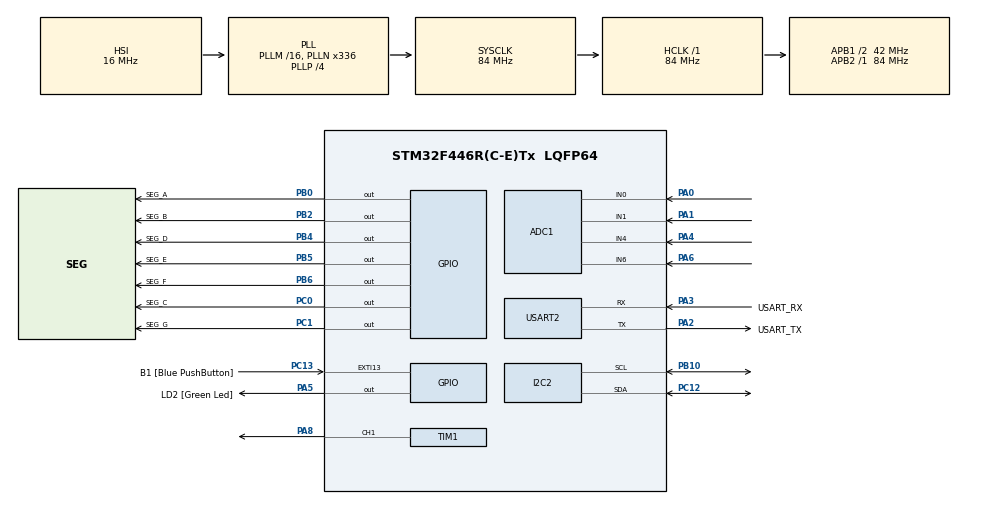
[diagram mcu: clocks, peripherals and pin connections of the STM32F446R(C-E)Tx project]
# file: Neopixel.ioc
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ADC1.Channel-0\#ChannelRegularConversion=ADC_CHANNEL_0
ADC1.Channel-1\#ChannelRegularConversion=ADC_CHANNEL_1
ADC1.Channel-2\#ChannelRegularConversion=ADC_CHANNEL_4
ADC1.Channel-3\#ChannelRegularConversion=ADC_CHANNEL_6
ADC1.ContinuousConvMode=DISABLE
ADC1.InjNumberOfConversion=0
ADC1.NbrOfConversion=4
ADC1.NbrOfConversionFlag=1
ADC1.Rank-0\#ChannelRegularConversion=1
ADC1.Rank-1\#ChannelRegularConversion=2
ADC1.Rank-2\#ChannelRegularConversion=3
ADC1.Rank-3\#ChannelRegularConversion=4
ADC1.SamplingTime-0\#ChannelRegularConversion=ADC_SAMPLETIME_480CYCLES
ADC1.SamplingTime-1\#ChannelRegularConversion=ADC_SAMPLETIME_480CYCLES
ADC1.SamplingTime-2\#ChannelRegularConversion=ADC_SAMPLETIME_480CYCLES
ADC1.SamplingTime-3\#ChannelRegularConversion=ADC_SAMPLETIME_480CYCLES
ADC1.ScanConvMode=ENABLE
ADC1.master=1
Dma.Request0=TIM1_CH1
Dma.TIM1_CH1.0.Direction=DMA_MEMORY_TO_PERIPH
Dma.TIM1_CH1.0.FIFOMode=DMA_FIFOMODE_DISABLE
Dma.TIM1_CH1.0.Instance=DMA2_Stream1
Dma.TIM1_CH1.0.MemDataAlignment=DMA_MDATAALIGN_HALFWORD
Dma.TIM1_CH1.0.MemInc=DMA_MINC_ENABLE
Dma.TIM1_CH1.0.Mode=DMA_NORMAL
Dma.TIM1_CH1.0.PeriphDataAlignment=DMA_PDATAALIGN_HALFWORD
Dma.TIM1_CH1.0.PeriphInc=DMA_PINC_DISABLE
Dma.TIM1_CH1.0.Priority=DMA_PRIORITY_HIGH
I2C2.OwnAddress=0
Mcu.Family=STM32F4
Mcu.Name=STM32F446R(C-E)Tx
Mcu.Package=LQFP64
NVIC.DMA2_Stream1_IRQn=true\:0\:0\:false\:false\:true\:false\:true\:true
NVIC.I2C2_ER_IRQn=true\:0\:0\:false\:false\:true\:true\:true\:true
NVIC.I2C2_EV_IRQn=true\:0\:0\:false\:false\:true\:true\:true\:true
NVIC.PriorityGroup=NVIC_PRIORITYGROUP_0
NVIC.TIM1_CC_IRQn=true\:0\:0\:false\:false\:true\:true\:true\:true
PA0-WKUP.Signal=ADCx_IN0
PA1.Signal=ADCx_IN1
PA13.GPIO_Label=TMS
PA13.Mode=Serial_Wire
PA13.Signal=SYS_JTMS-SWDIO
PA14.GPIO_Label=TCK
PA14.Mode=Serial_Wire
PA14.Signal=SYS_JTCK-SWCLK
PA2.GPIO_Label=USART_TX
PA2.Mode=Asynchronous
PA2.Signal=USART2_TX
PA3.GPIO_Label=USART_RX
PA3.Mode=Asynchronous
PA3.Signal=USART2_RX
PA4.Signal=ADCx_IN4
PA5.GPIO_Label=LD2 [Green Led]
PA5.Signal=GPIO_Output
PA6.Signal=ADCx_IN6
PA8.Signal=S_TIM1_CH1
PB0.GPIO_Label=SEG_A
PB0.Signal=GPIO_Output
PB10.GPIO_Pu=GPIO_NOPULL
PB10.Mode=I2C
PB10.Signal=I2C2_SCL
PB2.GPIO_Label=SEG_B
PB2.Signal=GPIO_Output
PB3.GPIO_Label=SWO
PB3.Signal=SYS_JTDO-SWO
PB4.GPIO_Label=SEG_D
PB4.Signal=GPIO_Output
PB5.GPIO_Label=SEG_E
PB5.Signal=GPIO_Output
PB6.GPIO_Label=SEG_F
PB6.Signal=GPIO_Output
PC0.GPIO_Label=SEG_C
PC0.Signal=GPIO_Output
PC1.GPIO_Label=SEG_G
PC1.Signal=GPIO_Output
PC12.GPIO_Pu=GPIO_NOPULL
PC12.Mode=I2C
PC12.Signal=I2C2_SDA
PC13.GPIO_Label=B1 [Blue PushButton]
PC13.GPIO_ModeDefaultEXTI=GPIO_MODE_IT_FALLING
PC13.Signal=GPXTI13
PC14-OSC32_IN.Mode=LSE-External-Oscillator
PC14-OSC32_IN.Signal=RCC_OSC32_IN
PC15-OSC32_OUT.Mode=LSE-External-Oscillator
PC15-OSC32_OUT.Signal=RCC_OSC32_OUT
PH0-OSC_IN.Mode=HSE-External-Oscillator
PH0-OSC_IN.Signal=RCC_OSC_IN
PH1-OSC_OUT.Mode=HSE-External-Oscillator
PH1-OSC_OUT.Signal=RCC_OSC_OUT
ProjectManager.HeapSize=0x200
ProjectManager.StackSize=0x400
ProjectManager.TargetToolchain=STM32CubeIDE
RCC.48MHZClocksFreq_Value=84000000
RCC.AHBFreq_Value=84000000
RCC.APB1CLKDivider=RCC_HCLK_DIV2
RCC.APB1Freq_Value=42000000
RCC.APB1TimFreq_Value=84000000
RCC.APB2Freq_Value=84000000
RCC.APB2TimFreq_Value=84000000
RCC.CortexFreq_Value=84000000
RCC.FLatency-AdvancedSettings=FLASH_LATENCY_2
RCC.HCLKFreq_Value=84000000
RCC.HSE_VALUE=8000000
RCC.HSI_VALUE=16000000
RCC.PLLN=336
RCC.PLLP=RCC_PLLP_DIV4
RCC.SYSCLKFreq_VALUE=84000000
RCC.SYSCLKSource=RCC_SYSCLKSOURCE_PLLCLK
RCC.USBFreq_Value=168000000
RCC.VCOOutputFreq_Value=336000000
SH.ADCx_IN0.0=ADC1_IN0,IN0
SH.ADCx_IN1.0=ADC1_IN1,IN1
SH.ADCx_IN4.0=ADC1_IN4,IN4
SH.ADCx_IN6.0=ADC1_IN6,IN6
SH.S_TIM1_CH1.0=TIM1_CH1,PWM Generation1 CH1
TIM1.Channel-PWM\ Generation1\ CH1=TIM_CHANNEL_1
TIM1.Period=105-1
USART2.VirtualMode=VM_ASYNC
VP_TIM1_VS_ClockSourceINT.Mode=Internal
board=NUCLEO-F446RE

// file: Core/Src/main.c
/* USER CODE BEGIN Header */
/**
  ******************************************************************************
  * @file           : main.c
  * @brief          : Main program body
  ******************************************************************************
  * @attention
  *
  * Copyright (c) 2025 STMicroelectronics.
  * All rights reserved.
  *
  * This software is licensed under terms that can be found in the LICENSE file
  * in the root directory of this software component.
  * If no LICENSE file comes with this software, it is provided AS-IS.
  *
  ******************************************************************************
  */
/* USER CODE END Header */
#include "main.h"

/* USER CODE BEGIN Includes */
#include <stdio.h>
#include <stdbool.h>
#include <string.h>
#include "Neopixel.h"
/* USER CODE END Includes */

/* USER CODE BEGIN PD */
#define UMBRAL_LDR 2000
#define STM32_SLAVE_ADDRESS 0x04  // Segunda Nucleo esclava (espacios 5-8)
#define ESP32_SLAVE_ADDRESS 0x28  // ESP32 para interfaz web
#define CMD_DISPLAY_UPDATE 0xA1
/* USER CODE END PD */

ADC_HandleTypeDef hadc1;

I2C_HandleTypeDef hi2c2;

TIM_HandleTypeDef htim1;
DMA_HandleTypeDef hdma_tim1_ch1;

UART_HandleTypeDef huart2;

/* USER CODE BEGIN PV */
float brilloled = 50.0f;

// LDRs y estado LOCAL (esta Nucleo - espacios 1-4)
uint32_t ldrValues[4];
uint8_t espaciosLibresLocal = 0;

// Datos recibidos de la Nucleo ESCLAVA (espacios 5-8)
uint8_t slave_data[9];  // 1 byte libres + 4 uint16_t LDR
uint16_t ldr_values_slave[4];
uint8_t espaciosLibresRemoto = 0;

// Estado TOTAL del parqueo (8 espacios)
uint8_t espaciosLibresTotal = 0;
uint8_t estadoParqueos[8] = {0};  // 0=ocupado, 1=libre

// Buffer para enviar al ESP32
uint8_t esp32_data[9];  // 1 byte total + 8 bytes estado

char buffer[200];
unsigned long lastI2CRead = 0;

// Tabla display 7 segmentos
uint8_t digitosDisplay[10] = {
    0b00111111,  // 0
    0b00000110,  // 1
    0b01011011,  // 2
    0b01001111,  // 3
    0b01100110,  // 4
    0b01101101,  // 5
    0b01111101,  // 6
    0b00000111,  // 7
    0b01111111,  // 8
    0b01101111   // 9
};

bool slave_error = false;
bool esp32_error = false;
/* USER CODE END PV */

void SystemClock_Config(void);
static void MX_GPIO_Init(void);
static void MX_DMA_Init(void);
static void MX_USART2_UART_Init(void);
static void MX_TIM1_Init(void);
static void MX_ADC1_Init(void);
static void MX_I2C2_Init(void);
/* USER CODE BEGIN PFP */

void LeerLDRsLocal(void);
void ActualizarNeoPixelsLocal(void);
void MostrarDigito(uint8_t numero);
void LeerDatosEsclavo(void);
void ConsolidarDatos(void);
void EnviarDatosESP32(void);
int _write(int file, char *ptr, int len);

/* USER CODE END PFP */

/* USER CODE BEGIN 0 */
// Función para redirigir printf al UART
int _write(int file, char *ptr, int len) {
    HAL_UART_Transmit(&huart2, (uint8_t*)ptr, len, HAL_MAX_DELAY);
    return len;
}

// Función auxiliar para leer LDRs locales
void LeerLDRsLocal(void) {
    HAL_ADC_Start(&hadc1);

    for (int i = 0; i < 4; i++) {
        HAL_ADC_PollForConversion(&hadc1, HAL_MAX_DELAY);
        ldrValues[i] = HAL_ADC_GetValue(&hadc1);
    }

    HAL_ADC_Stop(&hadc1);

    // Calcular espacios libres locales
    espaciosLibresLocal = 0;
    for (int i = 0; i < 4; i++) {
        if (ldrValues[i] > UMBRAL_LDR) {
            espaciosLibresLocal++;
            estadoParqueos[i] = 1;  // Libre
        } else {
            estadoParqueos[i] = 0;  // Ocupado
        }
    }
}

// Función para actualizar NeoPixels locales
void ActualizarNeoPixelsLocal(void) {
    for (int i = 0; i < 4; i++) {
        if (ldrValues[i] > UMBRAL_LDR) {
            setPixelColor(i, 0, 255, 0);  // Verde = libre
        } else {
            setPixelColor(i, 255, 0, 0);  // Rojo = ocupado
        }
    }
    pixelShow();
}

// Función para mostrar número en display 7 segmentos
void MostrarDigito(uint8_t numero) {
    if (numero > 9) numero = 9;

    uint8_t segmentos = digitosDisplay[numero];

    HAL_GPIO_WritePin(GPIOB, GPIO_PIN_0, (segmentos & 0b00000001) ? GPIO_PIN_SET : GPIO_PIN_RESET); // a
    HAL_GPIO_WritePin(GPIOB, GPIO_PIN_2, (segmentos & 0b00000010) ? GPIO_PIN_SET : GPIO_PIN_RESET); // b
    HAL_GPIO_WritePin(GPIOC, GPIO_PIN_0, (segmentos & 0b00000100) ? GPIO_PIN_SET : GPIO_PIN_RESET); // c
    HAL_GPIO_WritePin(GPIOB, GPIO_PIN_4, (segmentos & 0b00001000) ? GPIO_PIN_SET : GPIO_PIN_RESET); // d
    HAL_GPIO_WritePin(GPIOB, GPIO_PIN_5, (segmentos & 0b00010000) ? GPIO_PIN_SET : GPIO_PIN_RESET); // e
    HAL_GPIO_WritePin(GPIOB, GPIO_PIN_6, (segmentos & 0b00100000) ? GPIO_PIN_SET : GPIO_PIN_RESET); // f
    HAL_GPIO_WritePin(GPIOC, GPIO_PIN_1, (segmentos & 0b01000000) ? GPIO_PIN_SET : GPIO_PIN_RESET); // g
}
/* USER CODE END 0 */

int main(void)
{

  /* MCU Configuration--------------------------------------------------------*/

  /* Reset of all peripherals, Initializes the Flash interface and the Systick. */
  HAL_Init();

  /* Configure the system clock */
  SystemClock_Config();

  /* Initialize all configured peripherals */
  MX_GPIO_Init();
  MX_DMA_Init();
  MX_USART2_UART_Init();
  MX_TIM1_Init();
  MX_ADC1_Init();
  MX_I2C2_Init();
  /* USER CODE BEGIN 2 */
  printf("\r\n[I2C SCAN] Escaneando bus I2C...\r\n");
  for (uint8_t addr = 1; addr < 128; addr++) {
      if (HAL_I2C_IsDeviceReady(&hi2c2, (addr << 1), 1, 10) == HAL_OK) {
          printf("  ✓ Dispositivo encontrado en: 0x%02X\r\n", addr);
      }
  }
  printf("[I2C SCAN] Escaneo completo\r\n\r\n");

  // ⭐ VERIFICAR que el esclavo responde antes de continuar
  printf("\r\n[VERIFICACIÓN] Probando comunicación con esclavo 0x%02X...\r\n", STM32_SLAVE_ADDRESS);
  HAL_Delay(100);

  if (HAL_I2C_IsDeviceReady(&hi2c2, (STM32_SLAVE_ADDRESS << 1), 3, 100) == HAL_OK) {
      printf("  ✓ Nucleo esclava (0x%02X) responde correctamente\r\n\r\n", STM32_SLAVE_ADDRESS);
  } else {
      printf("  ✗ ADVERTENCIA: Nucleo esclava (0x%02X) NO responde\r\n", STM32_SLAVE_ADDRESS);
      printf("    Verifica:\r\n");
      printf("    - Esclavo programado y funcionando\r\n");
      printf("    - HAL_I2C_EnableListen_IT() llamado en el esclavo\r\n");
      printf("    - Conexiones I2C y GND\r\n");
      printf("    - Resistencias pull-up\r\n\r\n");
  }

  printf("\r\n========================================\r\n");
  printf("   Nucleo MAESTRO - Parqueo JJ\r\n");
  printf("   Control de espacios 1-4\r\n");
  printf("========================================\r\n\r\n");

  MostrarDigito(0);
  printf("Display 7 segmentos OK\r\n");

  setBrightness(50);
  pixelClear();
  pixelShow();
  printf("NeoPixels OK\r\n");

  printf("Umbral LDR: %d\r\n\r\n", UMBRAL_LDR);

  printf("I2C Maestro inicializado\r\n");
  printf("  Nucleo Esclava: 0x%02X (Espacios 5-8)\r\n", STM32_SLAVE_ADDRESS);
  printf("  ESP32 Display:  0x%02X\r\n\r\n", ESP32_SLAVE_ADDRESS);

  printf("Iniciando monitoreo de 8 espacios...\r\n");
  printf("========================================\r\n\r\n");

  memset(slave_data, 0, sizeof(slave_data));
  memset(esp32_data, 0, sizeof(esp32_data));

  /* USER CODE END 2 */

  /* Infinite loop */
  /* USER CODE BEGIN WHILE */
  while (1)
  {
	  // 1. Leer sensores LOCALES (espacios 1-4)
	      LeerLDRsLocal();

	      // 2. Actualizar NeoPixels LOCALES
	      ActualizarNeoPixelsLocal();

	      // 3. Leer datos de la Nucleo ESCLAVA cada 300ms
	      if (HAL_GetTick() - lastI2CRead >= 300) {
	          LeerDatosEsclavo();
	          HAL_Delay(10);

	          ConsolidarDatos();
	          HAL_Delay(10);

	          EnviarDatosESP32();
	          HAL_Delay(10);

	          EnviarDatosNucleoEsclava();

	          // Debug completo
	          printf("[MAESTRO] Total: %d/8 | Local(1-4): %d/4 | Remoto(5-8): %d/4\r\n",
	                 espaciosLibresTotal, espaciosLibresLocal, espaciosLibresRemoto);

	          printf("  LDR Local:  [%4lu, %4lu, %4lu, %4lu]\r\n",
	                 ldrValues[0], ldrValues[1], ldrValues[2], ldrValues[3]);

	          printf("  LDR Remoto: [%4u, %4u, %4u, %4u]\r\n",
	                 ldr_values_slave[0], ldr_values_slave[1],
	                 ldr_values_slave[2], ldr_values_slave[3]);

	          printf("  Estado: [%d,%d,%d,%d,%d,%d,%d,%d]\r\n\r\n",
	                 estadoParqueos[0], estadoParqueos[1], estadoParqueos[2], estadoParqueos[3],
	                 estadoParqueos[4], estadoParqueos[5], estadoParqueos[6], estadoParqueos[7]);

	          lastI2CRead = HAL_GetTick();
	      }

	      HAL_Delay(200);
    /* USER CODE END WHILE */

  }
}

void SystemClock_Config(void)
{
  RCC_OscInitTypeDef RCC_OscInitStruct = {0};
  RCC_ClkInitTypeDef RCC_ClkInitStruct = {0};

  /** Configure the main internal regulator output voltage
  */
  __HAL_RCC_PWR_CLK_ENABLE();
  __HAL_PWR_VOLTAGESCALING_CONFIG(PWR_REGULATOR_VOLTAGE_SCALE3);

  /** Initializes the RCC Oscillators according to the specified parameters
  * in the RCC_OscInitTypeDef structure.
  */
  RCC_OscInitStruct.OscillatorType = RCC_OSCILLATORTYPE_HSI;
  RCC_OscInitStruct.HSIState = RCC_HSI_ON;
  RCC_OscInitStruct.HSICalibrationValue = RCC_HSICALIBRATION_DEFAULT;
  RCC_OscInitStruct.PLL.PLLState = RCC_PLL_ON;
  RCC_OscInitStruct.PLL.PLLSource = RCC_PLLSOURCE_HSI;
  RCC_OscInitStruct.PLL.PLLM = 16;
  RCC_OscInitStruct.PLL.PLLN = 336;
  RCC_OscInitStruct.PLL.PLLP = RCC_PLLP_DIV4;
  RCC_OscInitStruct.PLL.PLLQ = 2;
  RCC_OscInitStruct.PLL.PLLR = 2;
  if (HAL_RCC_OscConfig(&RCC_OscInitStruct) != HAL_OK)
  {
    Error_Handler();
  }

  /** Initializes the CPU, AHB and APB buses clocks
  */
  RCC_ClkInitStruct.ClockType = RCC_CLOCKTYPE_HCLK|RCC_CLOCKTYPE_SYSCLK
                              |RCC_CLOCKTYPE_PCLK1|RCC_CLOCKTYPE_PCLK2;
  RCC_ClkInitStruct.SYSCLKSource = RCC_SYSCLKSOURCE_PLLCLK;
  RCC_ClkInitStruct.AHBCLKDivider = RCC_SYSCLK_DIV1;
  RCC_ClkInitStruct.APB1CLKDivider = RCC_HCLK_DIV2;
  RCC_ClkInitStruct.APB2CLKDivider = RCC_HCLK_DIV1;

  if (HAL_RCC_ClockConfig(&RCC_ClkInitStruct, FLASH_LATENCY_2) != HAL_OK)
  {
    Error_Handler();
  }
}

static void MX_ADC1_Init(void)
{

  ADC_ChannelConfTypeDef sConfig = {0};

  /** Configure the global features of the ADC (Clock, Resolution, Data Alignment and number of conversion)
  */
  hadc1.Instance = ADC1;
  hadc1.Init.ClockPrescaler = ADC_CLOCK_SYNC_PCLK_DIV4;
  hadc1.Init.Resolution = ADC_RESOLUTION_12B;
  hadc1.Init.ScanConvMode = ENABLE;
  hadc1.Init.ContinuousConvMode = DISABLE;
  hadc1.Init.DiscontinuousConvMode = DISABLE;
  hadc1.Init.ExternalTrigConvEdge = ADC_EXTERNALTRIGCONVEDGE_NONE;
  hadc1.Init.ExternalTrigConv = ADC_SOFTWARE_START;
  hadc1.Init.DataAlign = ADC_DATAALIGN_RIGHT;
  hadc1.Init.NbrOfConversion = 4;
  hadc1.Init.DMAContinuousRequests = DISABLE;
  hadc1.Init.EOCSelection = ADC_EOC_SINGLE_CONV;
  if (HAL_ADC_Init(&hadc1) != HAL_OK)
  {
    Error_Handler();
  }

  /** Configure for the selected ADC regular channel its corresponding rank in the sequencer and its sample time.
  */
  sConfig.Channel = ADC_CHANNEL_0;
  sConfig.Rank = 1;
  sConfig.SamplingTime = ADC_SAMPLETIME_480CYCLES;
  if (HAL_ADC_ConfigChannel(&hadc1, &sConfig) != HAL_OK)
  {
    Error_Handler();
  }

  /** Configure for the selected ADC regular channel its corresponding rank in the sequencer and its sample time.
  */
  sConfig.Channel = ADC_CHANNEL_1;
  sConfig.Rank = 2;
  if (HAL_ADC_ConfigChannel(&hadc1, &sConfig) != HAL_OK)
  {
    Error_Handler();
  }

  /** Configure for the selected ADC regular channel its corresponding rank in the sequencer and its sample time.
  */
  sConfig.Channel = ADC_CHANNEL_4;
  sConfig.Rank = 3;
  if (HAL_ADC_ConfigChannel(&hadc1, &sConfig) != HAL_OK)
  {
    Error_Handler();
  }

  /** Configure for the selected ADC regular channel its corresponding rank in the sequencer and its sample time.
  */
  sConfig.Channel = ADC_CHANNEL_6;
  sConfig.Rank = 4;
  if (HAL_ADC_ConfigChannel(&hadc1, &sConfig) != HAL_OK)
  {
    Error_Handler();
  }

}

static void MX_I2C2_Init(void)
{

  hi2c2.Instance = I2C2;
  hi2c2.Init.ClockSpeed = 100000;
  hi2c2.Init.DutyCycle = I2C_DUTYCYCLE_2;
  hi2c2.Init.OwnAddress1 = 0;
  hi2c2.Init.AddressingMode = I2C_ADDRESSINGMODE_7BIT;
  hi2c2.Init.DualAddressMode = I2C_DUALADDRESS_DISABLE;
  hi2c2.Init.OwnAddress2 = 0;
  hi2c2.Init.GeneralCallMode = I2C_GENERALCALL_DISABLE;
  hi2c2.Init.NoStretchMode = I2C_NOSTRETCH_DISABLE;
  if (HAL_I2C_Init(&hi2c2) != HAL_OK)
  {
    Error_Handler();
  }

}

static void MX_TIM1_Init(void)
{

  TIM_ClockConfigTypeDef sClockSourceConfig = {0};
  TIM_MasterConfigTypeDef sMasterConfig = {0};
  TIM_OC_InitTypeDef sConfigOC = {0};
  TIM_BreakDeadTimeConfigTypeDef sBreakDeadTimeConfig = {0};

  htim1.Instance = TIM1;
  htim1.Init.Prescaler = 0;
  htim1.Init.CounterMode = TIM_COUNTERMODE_UP;
  htim1.Init.Period = 105-1;
  htim1.Init.ClockDivision = TIM_CLOCKDIVISION_DIV1;
  htim1.Init.RepetitionCounter = 0;
  htim1.Init.AutoReloadPreload = TIM_AUTORELOAD_PRELOAD_DISABLE;
  if (HAL_TIM_Base_Init(&htim1) != HAL_OK)
  {
    Error_Handler();
  }
  sClockSourceConfig.ClockSource = TIM_CLOCKSOURCE_INTERNAL;
  if (HAL_TIM_ConfigClockSource(&htim1, &sClockSourceConfig) != HAL_OK)
  {
    Error_Handler();
  }
  if (HAL_TIM_PWM_Init(&htim1) != HAL_OK)
  {
    Error_Handler();
  }
  sMasterConfig.MasterOutputTrigger = TIM_TRGO_RESET;
  sMasterConfig.MasterSlaveMode = TIM_MASTERSLAVEMODE_DISABLE;
  if (HAL_TIMEx_MasterConfigSynchronization(&htim1, &sMasterConfig) != HAL_OK)
  {
    Error_Handler();
  }
  sConfigOC.OCMode = TIM_OCMODE_PWM1;
  sConfigOC.Pulse = 0;
  sConfigOC.OCPolarity = TIM_OCPOLARITY_HIGH;
  sConfigOC.OCNPolarity = TIM_OCNPOLARITY_HIGH;
  sConfigOC.OCFastMode = TIM_OCFAST_DISABLE;
  sConfigOC.OCIdleState = TIM_OCIDLESTATE_RESET;
  sConfigOC.OCNIdleState = TIM_OCNIDLESTATE_RESET;
  if (HAL_TIM_PWM_ConfigChannel(&htim1, &sConfigOC, TIM_CHANNEL_1) != HAL_OK)
  {
    Error_Handler();
  }
  sBreakDeadTimeConfig.OffStateRunMode = TIM_OSSR_DISABLE;
  sBreakDeadTimeConfig.OffStateIDLEMode = TIM_OSSI_DISABLE;
  sBreakDeadTimeConfig.LockLevel = TIM_LOCKLEVEL_OFF;
  sBreakDeadTimeConfig.DeadTime = 0;
  sBreakDeadTimeConfig.BreakState = TIM_BREAK_DISABLE;
  sBreakDeadTimeConfig.BreakPolarity = TIM_BREAKPOLARITY_HIGH;
  sBreakDeadTimeConfig.AutomaticOutput = TIM_AUTOMATICOUTPUT_DISABLE;
  if (HAL_TIMEx_ConfigBreakDeadTime(&htim1, &sBreakDeadTimeConfig) != HAL_OK)
  {
    Error_Handler();
  }
  HAL_TIM_MspPostInit(&htim1);

}

static void MX_USART2_UART_Init(void)
{

  huart2.Instance = USART2;
  huart2.Init.BaudRate = 115200;
  huart2.Init.WordLength = UART_WORDLENGTH_8B;
  huart2.Init.StopBits = UART_STOPBITS_1;
  huart2.Init.Parity = UART_PARITY_NONE;
  huart2.Init.Mode = UART_MODE_TX_RX;
  huart2.Init.HwFlowCtl = UART_HWCONTROL_NONE;
  huart2.Init.OverSampling = UART_OVERSAMPLING_16;
  if (HAL_UART_Init(&huart2) != HAL_OK)
  {
    Error_Handler();
  }

}

static void MX_DMA_Init(void)
{

  /* DMA controller clock enable */
  __HAL_RCC_DMA2_CLK_ENABLE();

  /* DMA interrupt init */
  /* DMA2_Stream1_IRQn interrupt configuration */
  HAL_NVIC_SetPriority(DMA2_Stream1_IRQn, 0, 0);
  HAL_NVIC_EnableIRQ(DMA2_Stream1_IRQn);

}

static void MX_GPIO_Init(void)
{
  GPIO_InitTypeDef GPIO_InitStruct = {0};

  /* GPIO Ports Clock Enable */
  __HAL_RCC_GPIOC_CLK_ENABLE();
  __HAL_RCC_GPIOH_CLK_ENABLE();
  __HAL_RCC_GPIOA_CLK_ENABLE();
  __HAL_RCC_GPIOB_CLK_ENABLE();

  /*Configure GPIO pin Output Level */
  HAL_GPIO_WritePin(GPIOC, SEG_C_Pin|SEG_G_Pin, GPIO_PIN_RESET);

  /*Configure GPIO pin Output Level */
  HAL_GPIO_WritePin(LD2_GPIO_Port, LD2_Pin, GPIO_PIN_RESET);

  /*Configure GPIO pin Output Level */
  HAL_GPIO_WritePin(GPIOB, SEG_A_Pin|SEG_B_Pin|SEG_D_Pin|SEG_E_Pin
                          |SEG_F_Pin, GPIO_PIN_RESET);

  /*Configure GPIO pin : B1_Pin */
  GPIO_InitStruct.Pin = B1_Pin;
  GPIO_InitStruct.Mode = GPIO_MODE_IT_FALLING;
  GPIO_InitStruct.Pull = GPIO_NOPULL;
  HAL_GPIO_Init(B1_GPIO_Port, &GPIO_InitStruct);

  /*Configure GPIO pins : SEG_C_Pin SEG_G_Pin */
  GPIO_InitStruct.Pin = SEG_C_Pin|SEG_G_Pin;
  GPIO_InitStruct.Mode = GPIO_MODE_OUTPUT_PP;
  GPIO_InitStruct.Pull = GPIO_NOPULL;
  GPIO_InitStruct.Speed = GPIO_SPEED_FREQ_LOW;
  HAL_GPIO_Init(GPIOC, &GPIO_InitStruct);

  /*Configure GPIO pin : LD2_Pin */
  GPIO_InitStruct.Pin = LD2_Pin;
  GPIO_InitStruct.Mode = GPIO_MODE_OUTPUT_PP;
  GPIO_InitStruct.Pull = GPIO_NOPULL;
  GPIO_InitStruct.Speed = GPIO_SPEED_FREQ_LOW;
  HAL_GPIO_Init(LD2_GPIO_Port, &GPIO_InitStruct);

  /*Configure GPIO pins : SEG_A_Pin SEG_B_Pin SEG_D_Pin SEG_E_Pin
                           SEG_F_Pin */
  GPIO_InitStruct.Pin = SEG_A_Pin|SEG_B_Pin|SEG_D_Pin|SEG_E_Pin
                          |SEG_F_Pin;
  GPIO_InitStruct.Mode = GPIO_MODE_OUTPUT_PP;
  GPIO_InitStruct.Pull = GPIO_NOPULL;
  GPIO_InitStruct.Speed = GPIO_SPEED_FREQ_LOW;
  HAL_GPIO_Init(GPIOB, &GPIO_InitStruct);

}

/* USER CODE BEGIN 4 */
/**
 * Leer datos de la Nucleo ESCLAVA (espacios 5-8)
 * Formato esperado: 9 bytes
 * - Byte 0: espacios libres (0-4)
 * - Bytes 1-8: 4 valores uint16_t en little-endian (LDR values)
 */
/**
 * Leer datos de la Nucleo ESCLAVA (espacios 5-8)
 * Formato esperado: 9 bytes
 * - Byte 0: espacios libres (0-4)
 * - Bytes 1-8: 4 valores uint16_t en little-endian (LDR values)
 */
void LeerDatosEsclavo(void) {
    HAL_StatusTypeDef status;

    // ⭐ AGREGAR: Pequeño delay antes de leer
    HAL_Delay(5);

    // Solicitar 9 bytes del esclavo
    status = HAL_I2C_Master_Receive(&hi2c2, (STM32_SLAVE_ADDRESS << 1),
                                     slave_data, 9, 200);  // ⚠️ Aumentar timeout a 200ms

    if (status == HAL_OK) {
        // Parsear datos recibidos
        espaciosLibresRemoto = slave_data[0];

        // Extraer valores LDR (little-endian: LSB primero, MSB después)
        ldr_values_slave[0] = slave_data[1] | (slave_data[2] << 8);
        ldr_values_slave[1] = slave_data[3] | (slave_data[4] << 8);
        ldr_values_slave[2] = slave_data[5] | (slave_data[6] << 8);
        ldr_values_slave[3] = slave_data[7] | (slave_data[8] << 8);

        // ⭐ CORREGIR: Actualizar estado según convención del esclavo
        // El esclavo envía: parking_status donde 0=libre, 1=ocupado
        // Pero necesitamos: estadoParqueos donde 1=libre, 0=ocupado
        for (int i = 0; i < 4; i++) {
            if (ldr_values_slave[i] > UMBRAL_LDR) {
                estadoParqueos[4 + i] = 1;  // Libre (LDR alto = sin carro)
            } else {
                estadoParqueos[4 + i] = 0;  // Ocupado (LDR bajo = con carro)
            }
        }

        // ⭐ AGREGAR: Recalcular espaciosLibresRemoto basado en LDR
        espaciosLibresRemoto = 0;
        for (int i = 4; i < 8; i++) {
            if (estadoParqueos[i] == 1) espaciosLibresRemoto++;
        }

        if (slave_error) {
            printf("[OK] Comunicación con Nucleo esclava restaurada\r\n");
            slave_error = false;
        }

    } else {
        // Error en comunicación
        if (!slave_error) {
            printf("[ERROR] No se pudo leer Nucleo esclava (0x%02X) - Status: %d\r\n",
                   STM32_SLAVE_ADDRESS, status);

            // ⭐ AGREGAR: Diagnóstico adicional
            if (status == HAL_TIMEOUT) {
                printf("  -> Timeout: El esclavo no responde\r\n");
                printf("  -> Verifica que el esclavo tenga HAL_I2C_EnableListen_IT()\r\n");
            } else if (status == HAL_ERROR) {
                printf("  -> Error I2C: Code 0x%08lX\r\n", hi2c2.ErrorCode);
            }

            slave_error = true;
        }

        // Marcar espacios remotos como desconocidos (ocupados por seguridad)
        espaciosLibresRemoto = 0;
        for (int i = 4; i < 8; i++) {
            estadoParqueos[i] = 0;
        }
    }
}

/**
 * Consolidar datos de ambas Nucleos (local + remota)
 */
void ConsolidarDatos(void) {
    // Calcular total de espacios libres
    espaciosLibresTotal = espaciosLibresLocal + espaciosLibresRemoto;

    // Actualizar display local con el total
    MostrarDigito(espaciosLibresTotal);

    // Preparar buffer para enviar al ESP32
    // Byte 0: Total de espacios libres
    esp32_data[0] = espaciosLibresTotal;

    // Bytes 1-8: Estado individual de cada parqueo (0=ocupado, 1=libre)
    for (int i = 0; i < 8; i++) {
        esp32_data[i + 1] = estadoParqueos[i];
    }
}

/**
 * Enviar datos consolidados al ESP32 por I2C
 * Formato: 9 bytes (1 byte total + 8 bytes estado)
 */
void EnviarDatosESP32(void) {
    HAL_StatusTypeDef status;

    // Enviar 9 bytes al ESP32
    status = HAL_I2C_Master_Transmit(&hi2c2, (ESP32_SLAVE_ADDRESS << 1),
                                      esp32_data, 9, 100);

    if (status == HAL_OK) {
        esp32_error = false;
    } else {
        if (!esp32_error) {
            printf("[ERROR] No se pudo enviar datos al ESP32 (0x%02X)\r\n",
                   ESP32_SLAVE_ADDRESS);
            esp32_error = true;
        }
    }
}

void EnviarDatosNucleoEsclava(void)
{
    uint8_t packet[10];
    packet[0] = CMD_DISPLAY_UPDATE;  // 0xA1
    packet[1] = espaciosLibresTotal;

    for (int i = 0; i < 8; i++) {
        packet[2 + i] = estadoParqueos[i]; // 1=libre, 0=ocupado
    }

    // ⭐ AGREGAR: Delay antes de enviar
    HAL_Delay(5);

    HAL_StatusTypeDef status = HAL_I2C_Master_Transmit(&hi2c2,
                                                        (STM32_SLAVE_ADDRESS << 1),
                                                        packet,
                                                        sizeof(packet),
                                                        200);  // ⚠️ Timeout 200ms

    if (status != HAL_OK) {
        if (!slave_error) {
            printf("[ERROR] No se pudo enviar CMD_DISPLAY_UPDATE a Nucleo esclava (0x%02X)\r\n",
                   STM32_SLAVE_ADDRESS);
            printf("  -> Status: %d, ErrorCode: 0x%08lX\r\n", status, hi2c2.ErrorCode);
            slave_error = true;
        }
    } else {
        if (slave_error) {
            printf("[OK] Envío de comandos restaurado\r\n");
            slave_error = false;
        }
    }
}
/* USER CODE END 4 */

void Error_Handler(void)
{
  __disable_irq();
  while (1)
  {
  }
}
